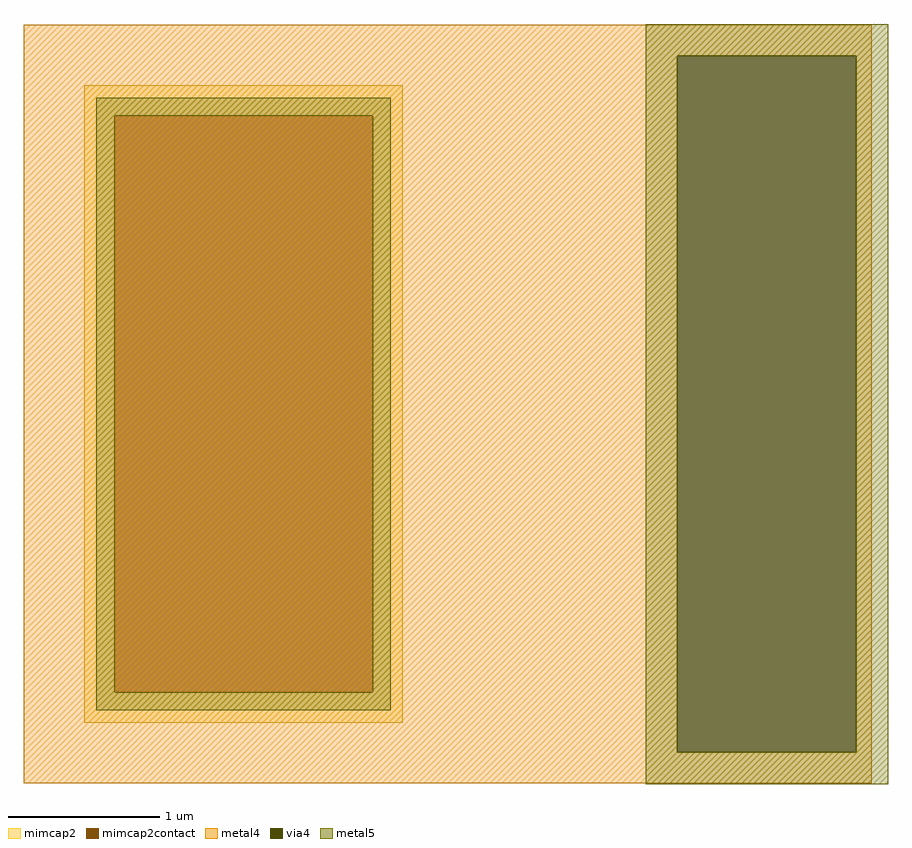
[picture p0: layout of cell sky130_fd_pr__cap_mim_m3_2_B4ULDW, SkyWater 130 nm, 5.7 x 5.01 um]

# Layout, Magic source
magic
tech sky130A
magscale 1 2
<< metal4 >>
rect -559 459 559 500
rect -559 -459 303 459
rect 539 -459 559 459
rect -559 -500 559 -459
<< via4 >>
rect 303 -459 539 459
<< mimcap2 >>
rect -479 380 -59 420
rect -479 -380 -439 380
rect -99 -380 -59 380
rect -479 -420 -59 -380
<< mimcap2contact >>
rect -439 -380 -99 380
<< metal5 >>
rect 261 459 581 501
rect -463 380 -75 404
rect -463 -380 -439 380
rect -99 -380 -75 380
rect -463 -404 -75 -380
rect 261 -459 303 459
rect 539 -459 581 459
rect 261 -501 581 -459
<< properties >>
string FIXED_BBOX -559 -500 21 500
string gencell sky130_fd_pr__cap_mim_m3_2
string library sky130
string parameters w 2.1 l 4.2 val 20.034 carea 2.00 cperi 0.19 nx 1 ny 1 dummy 0 square 0 lmin 2.00 wmin 2.00 lmax 30.0 wmax 30.0 dc 0 bconnect 1 tconnect 1 ccov 100
<< end >>
